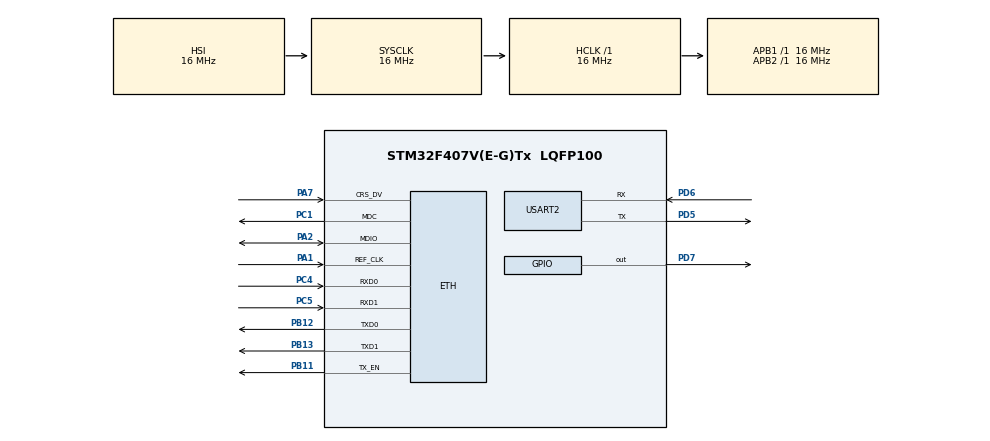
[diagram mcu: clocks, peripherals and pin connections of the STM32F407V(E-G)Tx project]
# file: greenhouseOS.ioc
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ETH.MediaInterface=HAL_ETH_RMII_MODE
FREERTOS.Tasks01=defaultTask,24,128,StartDefaultTask,Default,NULL,Dynamic,NULL,NULL
FREERTOS.configTOTAL_HEAP_SIZE=81920
FREERTOS.configUSE_NEWLIB_REENTRANT=1
LWIP.BSP.number=1
LWIP.CHECKSUM_BY_HARDWARE=1
LWIP.Version=v2.1.2_Cube
LWIP0.BSP.STBoard=false
LWIP0.BSP.api=BSP_COMPONENT_DRIVER
LWIP0.BSP.component=LAN8742
LWIP0.BSP.instance=LAN8742
LWIP0.BSP.name=Driver_PHY
LWIP0.BSP.semaphore=S_LAN8742
LWIP0.BSP.solution=LAN8742
Mcu.Family=STM32F4
Mcu.Name=STM32F407V(E-G)Tx
Mcu.Package=LQFP100
NVIC.ETH_IRQn=true\:5\:0\:false\:false\:true\:true\:false\:true\:true
NVIC.PriorityGroup=NVIC_PRIORITYGROUP_4
NVIC.TIM1_UP_TIM10_IRQn=true\:15\:0\:false\:false\:true\:false\:false\:true\:true
NVIC.TimeBase=TIM1_UP_TIM10_IRQn
NVIC.TimeBaseIP=TIM1
PA1.Mode=RMII
PA1.Signal=ETH_REF_CLK
PA13.Mode=Serial_Wire
PA13.Signal=SYS_JTMS-SWDIO
PA14.Mode=Serial_Wire
PA14.Signal=SYS_JTCK-SWCLK
PA2.Mode=RMII
PA2.Signal=ETH_MDIO
PA7.Mode=RMII
PA7.Signal=ETH_CRS_DV
PB11.Mode=RMII
PB11.Signal=ETH_TX_EN
PB12.Mode=RMII
PB12.Signal=ETH_TXD0
PB13.Mode=RMII
PB13.Signal=ETH_TXD1
PC1.Mode=RMII
PC1.Signal=ETH_MDC
PC14-OSC32_IN.Mode=LSE-External-Oscillator
PC14-OSC32_IN.Signal=RCC_OSC32_IN
PC15-OSC32_OUT.Mode=LSE-External-Oscillator
PC15-OSC32_OUT.Signal=RCC_OSC32_OUT
PC4.Mode=RMII
PC4.Signal=ETH_RXD0
PC5.Mode=RMII
PC5.Signal=ETH_RXD1
PD5.Mode=Asynchronous
PD5.Signal=USART2_TX
PD6.Mode=Asynchronous
PD6.Signal=USART2_RX
PD7.Signal=GPIO_Output
ProjectManager.HeapSize=0x200
ProjectManager.StackSize=0x400
ProjectManager.TargetToolchain=STM32CubeIDE
RCC.AHBFreq_Value=16000000
RCC.APB1Freq_Value=16000000
RCC.APB2Freq_Value=16000000
RCC.CortexFreq_Value=16000000
RCC.HSE_VALUE=25000000
RCC.HSI_VALUE=16000000
RCC.SYSCLKFreq_VALUE=16000000
RCC.VCOOutputFreq_Value=192000000
USART2.VirtualMode=VM_ASYNC
VP_FREERTOS_VS_CMSIS_V2.Mode=CMSIS_V2
VP_LWIP_VS_Enabled.Mode=Enabled
VP_RTC_VS_RTC_Activate.Mode=RTC_Enabled
VP_SYS_VS_tim1.Mode=TIM1
board=custom

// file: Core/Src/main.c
/* USER CODE BEGIN Header */
/**
  ******************************************************************************
  * @file           : main.c
  * @brief          : Main program body
  ******************************************************************************
  * @attention
  *
  * Copyright (c) 2026 STMicroelectronics.
  * All rights reserved.
  *
  * This software is licensed under terms that can be found in the LICENSE file
  * in the root directory of this software component.
  * If no LICENSE file comes with this software, it is provided AS-IS.
  *
  ******************************************************************************
  */
/* USER CODE END Header */
#include "main.h"
#include "cmsis_os.h"
#include "lwip.h"

/* USER CODE BEGIN Includes */
#include "gh_crc32.h"
#include "gh_runtime_state.h"
#include "gh_modbus_master.h"
#include "gh_modbus_map.h"
#include "gh_modbus_tcp_server.h"
#include "gh_config_storage.h"
#include "gh_topology_v2.h"
#include "task.h"
#include <string.h>
#include <stddef.h>

/* USER CODE END Includes */

/* USER CODE BEGIN PD */

#define RTC_BKP_INIT_MARKER 0x32F2U
#define RTC_BKP_RESET_REASON_DR RTC_BKP_DR2
#define RTC_BKP_DIAG_MAGIC_DR RTC_BKP_DR3
#define RTC_BKP_BOOT_COUNT_DR RTC_BKP_DR4
#define RTC_BKP_POWERON_COUNT_DR RTC_BKP_DR5
#define RTC_BKP_ERROR_HANDLER_COUNT_DR RTC_BKP_DR6
#define RTC_BKP_WDG_MISS_COUNT_DR RTC_BKP_DR7
#define RTC_BKP_FAULT_RESET_COUNT_DR RTC_BKP_DR8
#define RTC_BKP_LAST_EVENT_CODE_DR RTC_BKP_DR9
#define RTC_BKP_LAST_RESET_REASON_DR RTC_BKP_DR10
#define RTC_BKP_DIAG_MAGIC 0x47484447UL
#define RESET_REASON_ERROR_HANDLER 0xE001U
#define RESET_REASON_WATCHDOG_MISS 0xE101U
#define RESET_REASON_FAULT_RANGE_MIN 0xE200U
#define RESET_REASON_FAULT_RANGE_MAX 0xE2FFU
#define IWDG_PRESCALER_VALUE 0x06U /* divider 256 */
#define IWDG_RELOAD_VALUE    1000U
#define IWDG_KR_KEY_ENABLE   0xCCCCU
#define IWDG_KR_KEY_RELOAD   0xAAAAU
#define IWDG_KR_KEY_WRITE    0x5555U
#define IWDG_SR_WAIT_MAX_LOOPS 100000U
#if defined(DEBUG)
#define GH_ENABLE_IWDG 0U
#else
#define GH_ENABLE_IWDG 1U
#endif

/* USER CODE END PD */

RTC_HandleTypeDef hrtc;

UART_HandleTypeDef huart2;

/* Definitions for defaultTask */
osThreadId_t defaultTaskHandle;
const osThreadAttr_t defaultTask_attributes = {
  .name = "defaultTask",
  .stack_size = 512U * 4U,
  .priority = (osPriority_t) osPriorityNormal,
};
/* USER CODE BEGIN PV */

osThreadId_t controlTaskHandle;
osThreadId_t modbusMasterTaskHandle;
osThreadId_t modbusTcpServerTaskHandle;
osThreadId_t configStorageTaskHandle;
osThreadId_t healthWatchdogTaskHandle;

static const osThreadAttr_t controlTask_attributes = {
  .name = "ControlTask",
  .stack_size = 768U * 4U,
  .priority = (osPriority_t)osPriorityHigh,
};

static const osThreadAttr_t modbusMasterTask_attributes = {
  .name = "ModbusMasterTask",
  .stack_size = 768U * 4U,
  .priority = (osPriority_t)osPriorityNormal,
};

static const osThreadAttr_t modbusTcpServerTask_attributes = {
  .name = "ModbusTcpServerTask",
  .stack_size = 1024U * 4U,
  .priority = (osPriority_t)osPriorityNormal,
};

static const osThreadAttr_t configStorageTask_attributes = {
  .name = "ConfigStorageTask",
  .stack_size = 1024U * 4U,
  .priority = (osPriority_t)osPriorityBelowNormal,
};

static const osThreadAttr_t healthWatchdogTask_attributes = {
  .name = "HealthWatchdogTask",
  .stack_size = 512U * 4U,
  .priority = (osPriority_t)osPriorityLow,
};

osMessageQueueId_t qConfigApplyHandle;
osMessageQueueId_t qConfigStoreHandle;
osMessageQueueId_t qTopologyStoreHandle;

/* USER CODE END PV */

void SystemClock_Config(void);
static void MX_GPIO_Init(void);
static void MX_USART2_UART_Init(void);
static void MX_RTC_Init(void);
static void MX_IWDG_Init(void);
static bool iwdg_init(uint8_t prescaler, uint16_t reload);
static void iwdg_refresh(void);
static void persist_diag_bootstrap(void);
static void persist_diag_update_last_event(uint16_t code);
void StartDefaultTask(void *argument);

/* USER CODE BEGIN PFP */

void StartControlTask(void *argument);
void StartModbusMasterTask(void *argument);
void StartModbusTcpServerTask(void *argument);
void StartConfigStorageTask(void *argument);
void StartHealthWatchdogTask(void *argument);

/* USER CODE END PFP */

/* USER CODE BEGIN 0 */

typedef struct __attribute__((packed))
{
  uint32_t version;
  uint32_t len;
  uint32_t crc;
  uint32_t seq;
  uint32_t valid_marker;
} config_slot_header_t;

sensor_state_t g_sensors[SENSOR_COUNT];
uint32_t g_next_event_id = 1U;

static volatile uint32_t g_last_kick_control_ms = 0U;
static volatile uint32_t g_last_kick_modbus_ms = 0U;
static volatile uint32_t g_last_kick_config_ms = 0U;
static volatile uint32_t g_last_kick_tcp_ms = 0U;

status_payload_t g_status = {0};
active_config_t g_active_config = {0};
uint32_t g_config_seq = 1U;
volatile uint32_t g_persist_boot_count = 0U;
volatile uint32_t g_persist_poweron_count = 0U;
volatile uint32_t g_persist_error_handler_count = 0U;
volatile uint32_t g_persist_wdg_miss_count = 0U;
volatile uint32_t g_persist_fault_reset_count = 0U;
volatile uint32_t g_persist_last_event_code = 0U;
volatile uint32_t g_persist_last_reset_reason = 0U;
volatile uint8_t g_topology_v2_active = 0U;
volatile uint16_t g_topology_v2_ver_major = 0U;
volatile uint16_t g_topology_v2_ver_minor = 0U;
volatile uint32_t g_topology_v2_generation = 0U;
volatile uint16_t g_topology_v2_module_count = 0U;
volatile uint16_t g_topology_v2_req_count = 0U;
volatile uint16_t g_topology_v2_point_count = 0U;
volatile uint16_t g_topology_v2_cmd_count = 0U;
volatile uint16_t g_topology_v2_policy_count = 0U;
volatile uint32_t g_topology_v2_active_size = 0U;
volatile uint8_t g_topology_commit_in_progress = 0U;

bool g_setpoints_apply_in_progress = false;
volatile uint8_t g_control_sync_pending = 0U;

void task_heartbeat_kick(task_heartbeat_bit_t bit)
{
  uint32_t now_ms = HAL_GetTick();

  taskENTER_CRITICAL();
  switch (bit)
  {
    case TASK_BIT_CONTROL:
      g_last_kick_control_ms = now_ms;
      break;
    case TASK_BIT_MODBUS:
      g_last_kick_modbus_ms = now_ms;
      break;
    case TASK_BIT_CONFIG:
      g_last_kick_config_ms = now_ms;
      break;
    case TASK_BIT_TCP:
      g_last_kick_tcp_ms = now_ms;
      break;
    case TASK_BIT_WDG:
      break;
    default:
      break;
  }
  taskEXIT_CRITICAL();
}

static void store_reset_reason(uint32_t reason)
{
  RTC_HandleTypeDef rtc = {0};
  __HAL_RCC_PWR_CLK_ENABLE();
  HAL_PWR_EnableBkUpAccess();
  __HAL_RCC_RTC_ENABLE();
  rtc.Instance = RTC;
  HAL_RTCEx_BKUPWrite(&rtc, RTC_BKP_RESET_REASON_DR, reason);
}

static uint32_t persist_diag_read(uint32_t reg)
{
  return HAL_RTCEx_BKUPRead(&hrtc, reg);
}

static void persist_diag_write(uint32_t reg, uint32_t value)
{
  HAL_RTCEx_BKUPWrite(&hrtc, reg, value);
}

static uint32_t persist_diag_increment(uint32_t reg)
{
  uint32_t value = persist_diag_read(reg);
  value++;
  persist_diag_write(reg, value);
  return value;
}

static void persist_diag_bootstrap(void)
{
  uint32_t reset_reason;
  uint32_t magic;

  HAL_PWR_EnableBkUpAccess();

  magic = persist_diag_read(RTC_BKP_DIAG_MAGIC_DR);
  if (magic != RTC_BKP_DIAG_MAGIC)
  {
    persist_diag_write(RTC_BKP_DIAG_MAGIC_DR, RTC_BKP_DIAG_MAGIC);
    persist_diag_write(RTC_BKP_BOOT_COUNT_DR, 0U);
    persist_diag_write(RTC_BKP_POWERON_COUNT_DR, 0U);
    persist_diag_write(RTC_BKP_ERROR_HANDLER_COUNT_DR, 0U);
    persist_diag_write(RTC_BKP_WDG_MISS_COUNT_DR, 0U);
    persist_diag_write(RTC_BKP_FAULT_RESET_COUNT_DR, 0U);
    persist_diag_write(RTC_BKP_LAST_EVENT_CODE_DR, 0U);
    persist_diag_write(RTC_BKP_LAST_RESET_REASON_DR, 0U);
  }

  g_persist_boot_count = persist_diag_increment(RTC_BKP_BOOT_COUNT_DR);

  reset_reason = persist_diag_read(RTC_BKP_RESET_REASON_DR);
  g_persist_last_reset_reason = reset_reason;
  persist_diag_write(RTC_BKP_LAST_RESET_REASON_DR, reset_reason);

  if (reset_reason == RESET_REASON_WATCHDOG_MISS)
  {
    g_persist_wdg_miss_count = persist_diag_increment(RTC_BKP_WDG_MISS_COUNT_DR);
  }
  else if (reset_reason == RESET_REASON_ERROR_HANDLER)
  {
    g_persist_error_handler_count = persist_diag_increment(RTC_BKP_ERROR_HANDLER_COUNT_DR);
  }
  else if ((reset_reason >= RESET_REASON_FAULT_RANGE_MIN) &&
           (reset_reason <= RESET_REASON_FAULT_RANGE_MAX))
  {
    g_persist_fault_reset_count = persist_diag_increment(RTC_BKP_FAULT_RESET_COUNT_DR);
  }
  else
  {
    g_persist_poweron_count = persist_diag_increment(RTC_BKP_POWERON_COUNT_DR);
  }

  g_persist_poweron_count = persist_diag_read(RTC_BKP_POWERON_COUNT_DR);
  g_persist_error_handler_count = persist_diag_read(RTC_BKP_ERROR_HANDLER_COUNT_DR);
  g_persist_wdg_miss_count = persist_diag_read(RTC_BKP_WDG_MISS_COUNT_DR);
  g_persist_fault_reset_count = persist_diag_read(RTC_BKP_FAULT_RESET_COUNT_DR);
  g_persist_last_event_code = persist_diag_read(RTC_BKP_LAST_EVENT_CODE_DR);

  /* Consume reason to avoid double accounting on the next clean boot. */
  persist_diag_write(RTC_BKP_RESET_REASON_DR, 0U);
}

static void persist_diag_update_last_event(uint16_t code)
{
  g_persist_last_event_code = (uint32_t)code;
  persist_diag_write(RTC_BKP_LAST_EVENT_CODE_DR, (uint32_t)code);
}

static bool task_heartbeat_missed(uint32_t now_ms, uint32_t last_kick_ms, uint32_t timeout_ms)
{
  if (last_kick_ms == 0U)
  {
    return true;
  }
  return ((uint32_t)(now_ms - last_kick_ms) > timeout_ms);
}

static bool iwdg_init(uint8_t prescaler, uint16_t reload)
{
#if (GH_ENABLE_IWDG == 0U)
  (void)prescaler;
  (void)reload;
  return true;
#else
  uint32_t loops = 0U;

  IWDG->KR = IWDG_KR_KEY_WRITE;
  IWDG->PR = (uint32_t)(prescaler & (uint8_t)IWDG_PR_PR);
  IWDG->RLR = (uint32_t)(reload & (uint16_t)IWDG_RLR_RL);

  while ((IWDG->SR & (IWDG_SR_PVU | IWDG_SR_RVU)) != 0U)
  {
    loops++;
    if (loops > IWDG_SR_WAIT_MAX_LOOPS)
    {
      return false;
    }
  }

  IWDG->KR = IWDG_KR_KEY_RELOAD;
  IWDG->KR = IWDG_KR_KEY_ENABLE;
  return true;
#endif
}

static void iwdg_refresh(void)
{
  IWDG->KR = IWDG_KR_KEY_RELOAD;
}

static uint16_t task_stack_hwm_words(osThreadId_t thread_id)
{
  UBaseType_t words;

  if (thread_id == NULL)
  {
    return 0U;
  }

  words = uxTaskGetStackHighWaterMark((TaskHandle_t)thread_id);
  if (words > 0xFFFFU)
  {
    words = 0xFFFFU;
  }

  return (uint16_t)words;
}

static void sensors_init_defaults(void)
{
  uint16_t i;
  uint32_t now = HAL_GetTick();
  for (i = 0U; i < SENSOR_COUNT; i++)
  {
    g_sensors[i].value = 0.0f;
    g_sensors[i].quality = SENSOR_QUALITY_OFFLINE;
    g_sensors[i].timestamp_ms = now;
  }
}

static bool flash_write_words(uint32_t addr, const uint8_t *data, uint32_t len)
{
  uint32_t i;
  uint32_t word;
  HAL_StatusTypeDef st;

  for (i = 0U; i < len; i += 4U)
  {
    word = 0xFFFFFFFFUL;
    memcpy(&word, &data[i], ((len - i) >= 4U) ? 4U : (len - i));
    st = HAL_FLASH_Program(FLASH_TYPEPROGRAM_WORD, addr + i, word);
    if (st != HAL_OK)
    {
      return false;
    }
  }
  return true;
}

static bool config_slot_read(uint32_t slot_addr, active_config_t *out_cfg)
{
  const config_slot_header_t *hdr = (const config_slot_header_t *)slot_addr;
  const uint8_t *payload = (const uint8_t *)(slot_addr + sizeof(config_slot_header_t));

  if (hdr->valid_marker != CONFIG_VALID_MARKER)
  {
    return false;
  }
  if (hdr->len != CONFIG_PAYLOAD_SIZE)
  {
    return false;
  }
  if (gh_crc32_compute(payload, hdr->len) != hdr->crc)
  {
    return false;
  }

  out_cfg->version = hdr->version;
  out_cfg->crc = hdr->crc;
  memcpy(out_cfg->payload, payload, CONFIG_PAYLOAD_SIZE);
  return true;
}

bool config_write_to_slot(uint32_t slot_addr, uint32_t sector, const active_config_t *cfg)
{
  config_slot_header_t hdr = {0};
  FLASH_EraseInitTypeDef erase = {0};
  uint32_t erase_err = 0U;
  bool ok;

  hdr.version = cfg->version;
  hdr.len = CONFIG_PAYLOAD_SIZE;
  hdr.crc = cfg->crc;
  hdr.seq = g_config_seq++;
  hdr.valid_marker = 0xFFFFFFFFUL;

  HAL_FLASH_Unlock();

  erase.TypeErase = FLASH_TYPEERASE_SECTORS;
  erase.VoltageRange = FLASH_VOLTAGE_RANGE_3;
  erase.Sector = sector;
  erase.NbSectors = 1U;
  if (HAL_FLASHEx_Erase(&erase, &erase_err) != HAL_OK)
  {
    HAL_FLASH_Lock();
    return false;
  }

  ok = flash_write_words(slot_addr, (const uint8_t *)&hdr, sizeof(hdr));
  ok = ok && flash_write_words(slot_addr + sizeof(hdr), cfg->payload, CONFIG_PAYLOAD_SIZE);
  if (ok)
  {
    const uint32_t marker = CONFIG_VALID_MARKER;
    ok = (HAL_FLASH_Program(FLASH_TYPEPROGRAM_WORD,
                            slot_addr + offsetof(config_slot_header_t, valid_marker),
                            marker) == HAL_OK);
  }

  HAL_FLASH_Lock();
  return ok;
}

static void config_load_or_default(void)
{
  active_config_t cfg_a = {0};
  active_config_t cfg_b = {0};
  bool valid_a = config_slot_read(CONFIG_SLOT_A_ADDR, &cfg_a);
  bool valid_b = config_slot_read(CONFIG_SLOT_B_ADDR, &cfg_b);
  uint32_t i;

  if (valid_a && valid_b)
  {
    g_active_config = (cfg_b.version >= cfg_a.version) ? cfg_b : cfg_a;
  }
  else if (valid_a)
  {
    g_active_config = cfg_a;
  }
  else if (valid_b)
  {
    g_active_config = cfg_b;
  }
  else
  {
    g_active_config.version = 1U;
    for (i = 0U; i < CONFIG_PAYLOAD_SIZE; i++)
    {
      g_active_config.payload[i] = 0U;
    }
    g_active_config.crc = gh_crc32_compute(g_active_config.payload, CONFIG_PAYLOAD_SIZE);
  }

  GH_TopologyV2_SyncRuntimeFromConfig(&g_active_config);
}

void publish_event(uint8_t severity, uint16_t code, uint16_t source, float value)
{
  (void)severity;
  (void)source;
  (void)value;
  g_next_event_id++;
  g_status.last_error_code = code;
  g_status.events_generated_count++;
  persist_diag_update_last_event(code);
}

/* USER CODE END 0 */

int main(void)
{

  /* MCU Configuration--------------------------------------------------------*/

  /* Reset of all peripherals, Initializes the Flash interface and the Systick. */
  HAL_Init();

  /* Configure the system clock */
  SystemClock_Config();

  /* Initialize all configured peripherals */
  MX_GPIO_Init();
  MX_USART2_UART_Init();
  MX_RTC_Init();
  MX_IWDG_Init();
  /* USER CODE BEGIN 2 */
  persist_diag_bootstrap();
  sensors_init_defaults();
  config_load_or_default();
  GH_TopologyStorage_LoadActiveFromFlash();
  GH_ModbusMap_Init();

  /* USER CODE END 2 */

  /* Init scheduler */
  osKernelInitialize();

  /* USER CODE BEGIN RTOS_QUEUES */
  qConfigApplyHandle = osMessageQueueNew(4U, sizeof(config_apply_req_t), NULL);
  qConfigStoreHandle = osMessageQueueNew(4U, sizeof(config_update_req_t), NULL);
  qTopologyStoreHandle = osMessageQueueNew(4U, sizeof(topology_chunk_req_t), NULL);
  /* USER CODE END RTOS_QUEUES */

  /* Create the thread(s) */
  /* creation of defaultTask */
  defaultTaskHandle = osThreadNew(StartDefaultTask, NULL, &defaultTask_attributes);

  /* USER CODE BEGIN RTOS_THREADS */
  controlTaskHandle = osThreadNew(StartControlTask, NULL, &controlTask_attributes);
  modbusMasterTaskHandle = osThreadNew(StartModbusMasterTask, NULL, &modbusMasterTask_attributes);
  modbusTcpServerTaskHandle = osThreadNew(StartModbusTcpServerTask, NULL, &modbusTcpServerTask_attributes);
  configStorageTaskHandle = osThreadNew(StartConfigStorageTask, NULL, &configStorageTask_attributes);
  healthWatchdogTaskHandle = osThreadNew(StartHealthWatchdogTask, NULL, &healthWatchdogTask_attributes);
  /* USER CODE END RTOS_THREADS */

  /* Start scheduler */
  osKernelStart();

  /* We should never get here as control is now taken by the scheduler */
  Error_Handler();
  return 0;
}

void SystemClock_Config(void)
{
  RCC_OscInitTypeDef RCC_OscInitStruct = {0};
  RCC_ClkInitTypeDef RCC_ClkInitStruct = {0};
  uint32_t rtc_clk_source = RCC_RTCCLKSOURCE_NO_CLK;

  /** Configure the main internal regulator output voltage
  */
  __HAL_RCC_PWR_CLK_ENABLE();
  HAL_PWR_EnableBkUpAccess();
  rtc_clk_source = __HAL_RCC_GET_RTC_SOURCE();
  if ((rtc_clk_source != RCC_RTCCLKSOURCE_NO_CLK) &&
      (rtc_clk_source != RCC_RTCCLKSOURCE_LSE))
  {
    /* One-time migration: clear backup domain if RTC was previously sourced
       from a different clock (e.g. LSI), then switch RTC to LSE. */
    __HAL_RCC_BACKUPRESET_FORCE();
    __HAL_RCC_BACKUPRESET_RELEASE();
  }
  __HAL_PWR_VOLTAGESCALING_CONFIG(PWR_REGULATOR_VOLTAGE_SCALE1);

  /** Initializes the RCC Oscillators according to the specified parameters
  * in the RCC_OscInitTypeDef structure.
  */
  RCC_OscInitStruct.OscillatorType = RCC_OSCILLATORTYPE_HSI|RCC_OSCILLATORTYPE_LSI|RCC_OSCILLATORTYPE_LSE;
  RCC_OscInitStruct.HSIState = RCC_HSI_ON;
  RCC_OscInitStruct.HSICalibrationValue = RCC_HSICALIBRATION_DEFAULT;
  RCC_OscInitStruct.LSIState = RCC_LSI_ON;
  RCC_OscInitStruct.LSEState = RCC_LSE_ON;
  RCC_OscInitStruct.PLL.PLLState = RCC_PLL_NONE;
  if (HAL_RCC_OscConfig(&RCC_OscInitStruct) != HAL_OK)
  {
    Error_Handler();
  }

  /** Initializes the CPU, AHB and APB buses clocks
  */
  RCC_ClkInitStruct.ClockType = RCC_CLOCKTYPE_HCLK|RCC_CLOCKTYPE_SYSCLK
                              |RCC_CLOCKTYPE_PCLK1|RCC_CLOCKTYPE_PCLK2;
  RCC_ClkInitStruct.SYSCLKSource = RCC_SYSCLKSOURCE_HSI;
  RCC_ClkInitStruct.AHBCLKDivider = RCC_SYSCLK_DIV1;
  RCC_ClkInitStruct.APB1CLKDivider = RCC_HCLK_DIV1;
  RCC_ClkInitStruct.APB2CLKDivider = RCC_HCLK_DIV1;

  if (HAL_RCC_ClockConfig(&RCC_ClkInitStruct, FLASH_LATENCY_0) != HAL_OK)
  {
    Error_Handler();
  }
}

static void MX_RTC_Init(void)
{

  /* USER CODE BEGIN RTC_Init 0 */
  RTC_TimeTypeDef sTime = {0};
  RTC_DateTypeDef sDate = {0};

  /* USER CODE END RTC_Init 0 */

  /** Initialize RTC Only
  */
  hrtc.Instance = RTC;
  hrtc.Init.HourFormat = RTC_HOURFORMAT_24;
  hrtc.Init.AsynchPrediv = 127;
  hrtc.Init.SynchPrediv = 255;
  hrtc.Init.OutPut = RTC_OUTPUT_DISABLE;
  hrtc.Init.OutPutPolarity = RTC_OUTPUT_POLARITY_HIGH;
  hrtc.Init.OutPutType = RTC_OUTPUT_TYPE_OPENDRAIN;
  if (HAL_RTC_Init(&hrtc) != HAL_OK)
  {
    Error_Handler();
  }
  /* USER CODE BEGIN RTC_Init 2 */
  HAL_PWR_EnableBkUpAccess();
  if (HAL_RTCEx_BKUPRead(&hrtc, RTC_BKP_DR1) != RTC_BKP_INIT_MARKER)
  {
    sTime.Hours = 13;
    sTime.Minutes = 50;
    sTime.Seconds = 0;
    sTime.DayLightSaving = RTC_DAYLIGHTSAVING_NONE;
    sTime.StoreOperation = RTC_STOREOPERATION_RESET;
    if (HAL_RTC_SetTime(&hrtc, &sTime, RTC_FORMAT_BIN) != HAL_OK)
    {
      Error_Handler();
    }

    sDate.WeekDay = RTC_WEEKDAY_THURSDAY;
    sDate.Month = RTC_MONTH_JANUARY;
    sDate.Date = 1;
    sDate.Year = 26;
    if (HAL_RTC_SetDate(&hrtc, &sDate, RTC_FORMAT_BIN) != HAL_OK)
    {
      Error_Handler();
    }

    HAL_RTCEx_BKUPWrite(&hrtc, RTC_BKP_DR1, RTC_BKP_INIT_MARKER);
  }

  /* USER CODE END RTC_Init 2 */

}

static void MX_USART2_UART_Init(void)
{

  huart2.Instance = USART2;
  huart2.Init.BaudRate = 19200;
  huart2.Init.WordLength = UART_WORDLENGTH_8B;
  huart2.Init.StopBits = UART_STOPBITS_1;
  huart2.Init.Parity = UART_PARITY_NONE;
  huart2.Init.Mode = UART_MODE_TX_RX;
  huart2.Init.HwFlowCtl = UART_HWCONTROL_NONE;
  huart2.Init.OverSampling = UART_OVERSAMPLING_16;
  if (HAL_UART_Init(&huart2) != HAL_OK)
  {
    Error_Handler();
  }

}

static void MX_IWDG_Init(void)
{
  if (!iwdg_init((uint8_t)IWDG_PRESCALER_VALUE, (uint16_t)IWDG_RELOAD_VALUE))
  {
    Error_Handler();
  }
}

static void MX_GPIO_Init(void)
{
  GPIO_InitTypeDef GPIO_InitStruct = {0};

  /* GPIO Ports Clock Enable */
  __HAL_RCC_GPIOC_CLK_ENABLE();
  __HAL_RCC_GPIOA_CLK_ENABLE();
  __HAL_RCC_GPIOB_CLK_ENABLE();
  __HAL_RCC_GPIOD_CLK_ENABLE();

  /*Configure GPIO pin Output Level */
  HAL_GPIO_WritePin(GPIOD, GPIO_PIN_7, GPIO_PIN_RESET);

  /*Configure GPIO pin : PD7 */
  GPIO_InitStruct.Pin = GPIO_PIN_7;
  GPIO_InitStruct.Mode = GPIO_MODE_OUTPUT_PP;
  GPIO_InitStruct.Pull = GPIO_NOPULL;
  GPIO_InitStruct.Speed = GPIO_SPEED_FREQ_LOW;
  HAL_GPIO_Init(GPIOD, &GPIO_InitStruct);

}

/* USER CODE BEGIN 4 */

void StartControlTask(void *argument)
{
  config_apply_req_t apply_req = {0};
  (void)argument;
  for (;;)
  {
    if (osMessageQueueGet(qConfigApplyHandle, &apply_req, NULL, 100U) == osOK)
    {
      g_active_config = apply_req.config;
      GH_TopologyV2_SyncRuntimeFromConfig(&g_active_config);
      g_control_sync_pending = 1U;
      g_setpoints_apply_in_progress = false;
      GH_ModbusMap_ReportConfigResult(apply_req.request_token,
                                      CFG_RESULT_APPLIED,
                                      apply_req.config.version);
      publish_event(EVENT_SEV_INFO, EVENT_CODE_CFG_APPLIED, 0U, (float)apply_req.config.version);
    }
    task_heartbeat_kick(TASK_BIT_CONTROL);
    osDelay(20U);
  }
}

void StartModbusMasterTask(void *argument)
{
  GH_ModbusMasterTask_Run(argument);
}

void StartModbusTcpServerTask(void *argument)
{
  GH_ModbusTcpServerTask_Run(argument);
}

void StartConfigStorageTask(void *argument)
{
  GH_ConfigStorageTask_Run(argument);
}

void StartHealthWatchdogTask(void *argument)
{
  uint32_t now_ms;
  uint32_t last_control_ms;
  uint32_t last_modbus_ms;
  uint32_t last_config_ms;
  uint32_t last_tcp_ms;
  uint32_t missing_mask;
  uint32_t miss_streak = 0U;
  uint32_t grace_until_ms = HAL_GetTick() + 5000U;
  bool allow_iwdg_refresh;
  bool miss_latched = false;
  (void)argument;
  for (;;)
  {
    g_status.stack_hwm_control_words = task_stack_hwm_words(controlTaskHandle);
    g_status.stack_hwm_modbus_words = task_stack_hwm_words(modbusMasterTaskHandle);
    g_status.stack_hwm_config_words = task_stack_hwm_words(configStorageTaskHandle);
    {
      uint16_t tcp_worker_hwm = GH_ModbusTcpServer_GetWorkerStackHwmWords();
      g_status.stack_hwm_tcp_words = (tcp_worker_hwm != 0U) ?
                                     tcp_worker_hwm :
                                     task_stack_hwm_words(modbusTcpServerTaskHandle);
    }
    g_status.stack_hwm_wdg_words = task_stack_hwm_words(healthWatchdogTaskHandle);
    g_status.heap_free_bytes = xPortGetFreeHeapSize();
    g_status.heap_min_ever_bytes = xPortGetMinimumEverFreeHeapSize();

    allow_iwdg_refresh = true;
    now_ms = HAL_GetTick();
    taskENTER_CRITICAL();
    last_control_ms = g_last_kick_control_ms;
    last_modbus_ms = g_last_kick_modbus_ms;
    last_config_ms = g_last_kick_config_ms;
    last_tcp_ms = g_last_kick_tcp_ms;
    taskEXIT_CRITICAL();

    if ((int32_t)(now_ms - grace_until_ms) < 0)
    {
      task_heartbeat_kick(TASK_BIT_WDG);
      if (GH_ENABLE_IWDG != 0U)
      {
        iwdg_refresh();
      }
      osDelay(1000U);
      continue;
    }

    missing_mask = 0U;
    if (task_heartbeat_missed(now_ms, last_control_ms, WDG_TIMEOUT_CONTROL_MS))
    {
      missing_mask |= TASK_BIT_CONTROL;
    }
    if (task_heartbeat_missed(now_ms, last_modbus_ms, WDG_TIMEOUT_MODBUS_MS))
    {
      missing_mask |= TASK_BIT_MODBUS;
    }
    if (task_heartbeat_missed(now_ms, last_config_ms, WDG_TIMEOUT_CONFIG_MS))
    {
      missing_mask |= TASK_BIT_CONFIG;
    }
    if (task_heartbeat_missed(now_ms, last_tcp_ms, WDG_TIMEOUT_TCP_MS))
    {
      missing_mask |= TASK_BIT_TCP;
    }

    if (missing_mask != 0U)
    {
      miss_streak++;
      if (miss_streak >= 3U)
      {
        g_status.last_error_code = EVENT_CODE_WDG_MISS;
        allow_iwdg_refresh = false;
        if (!miss_latched)
        {
          store_reset_reason(RESET_REASON_WATCHDOG_MISS);
          publish_event(EVENT_SEV_CRIT, EVENT_CODE_WDG_MISS, 0U, (float)(missing_mask & 0xFFFFU));
          miss_latched = true;
        }
      }
    }
    else
    {
      miss_streak = 0U;
      miss_latched = false;
      if (g_status.last_error_code == EVENT_CODE_WDG_MISS)
      {
        g_status.last_error_code = 0U;
      }
    }

    if ((GH_ENABLE_IWDG != 0U) && allow_iwdg_refresh)
    {
      iwdg_refresh();
    }
    task_heartbeat_kick(TASK_BIT_WDG);
    osDelay(1000U);
  }
}

/* USER CODE END 4 */

void StartDefaultTask(void *argument)
{
  /* init code for LWIP */
  MX_LWIP_Init();
  /* USER CODE BEGIN 5 */
  (void)argument;

  /* Infinite loop */
  for(;;)
  {
    osDelay(1000U);
  }
  /* USER CODE END 5 */
}

void HAL_TIM_PeriodElapsedCallback(TIM_HandleTypeDef *htim)
{
  if (htim->Instance == TIM1) {
    HAL_IncTick();
  }
}

void Error_Handler(void)
{
  /* USER CODE BEGIN Error_Handler_Debug */
  __disable_irq();
  store_reset_reason(RESET_REASON_ERROR_HANDLER);
  NVIC_SystemReset();
  /* USER CODE END Error_Handler_Debug */
}
